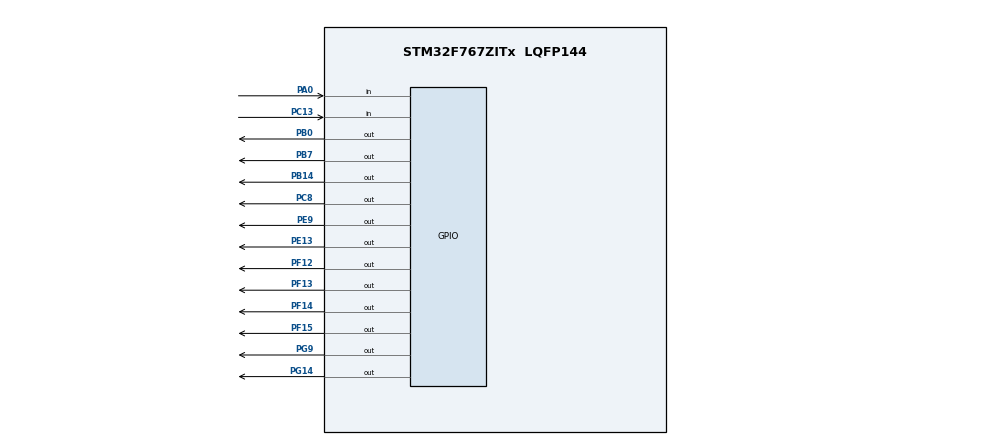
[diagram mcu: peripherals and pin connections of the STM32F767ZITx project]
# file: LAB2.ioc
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Mcu.Family=STM32F7
Mcu.Name=STM32F767ZITx
Mcu.Package=LQFP144
NVIC.PriorityGroup=NVIC_PRIORITYGROUP_4
PA0/WKUP.Signal=GPIO_Input
PB0.Signal=GPIO_Output
PB14.Signal=GPIO_Output
PB7.Signal=GPIO_Output
PC13.Signal=GPIO_Input
PC8.Signal=GPIO_Output
PE13.Signal=GPIO_Output
PE9.Signal=GPIO_Output
PF12.Signal=GPIO_Output
PF13.Signal=GPIO_Output
PF14.Signal=GPIO_Output
PF15.Signal=GPIO_Output
PG14.Signal=GPIO_Output
PG9.Signal=GPIO_Output
ProjectManager.HeapSize=0x200
ProjectManager.StackSize=0x400
ProjectManager.TargetToolchain=STM32CubeIDE
RCC.HSE_VALUE=25000000
RCC.HSI_VALUE=16000000
RCC.LSE_VALUE=32768
RCC.USBFreq_Value=96000000
RCC.VCOOutputFreq_Value=192000000
board=custom

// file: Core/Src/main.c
/* USER CODE BEGIN Header */
/**
 ******************************************************************************
 * @file           : main.c
 * @brief          : Main program body
 ******************************************************************************
 * @attention
 *
 * Copyright (c) 2023 STMicroelectronics.
 * All rights reserved.
 *
 * This software is licensed under terms that can be found in the LICENSE file
 * in the root directory of this software component.
 * If no LICENSE file comes with this software, it is provided AS-IS.
 *
 ******************************************************************************
 */
/* USER CODE END Header */
#include "main.h"

/* USER CODE BEGIN PD */
//void SetLed(int8_t counter){
//	  if(counter == 0)
//		  {
//		  	  HAL_GPIO_WritePin(GPIOF,GPIO_PIN_12,GPIO_PIN_SET);
//		  	  HAL_GPIO_WritePin(GPIOF,GPIO_PIN_13,GPIO_PIN_RESET);
//		  	  HAL_GPIO_WritePin(GPIOE,GPIO_PIN_9,GPIO_PIN_RESET);
//		  	  HAL_GPIO_WritePin(GPIOF,GPIO_PIN_14,GPIO_PIN_RESET);
//		  	  HAL_GPIO_WritePin(GPIOE,GPIO_PIN_13,GPIO_PIN_RESET);
//		  	  HAL_GPIO_WritePin(GPIOF,GPIO_PIN_15,GPIO_PIN_RESET);
//		  	  HAL_GPIO_WritePin(GPIOG,GPIO_PIN_14,GPIO_PIN_RESET);
//		  	  HAL_GPIO_WritePin(GPIOG,GPIO_PIN_9,GPIO_PIN_RESET);
//		  }
//	  if(counter == 1)
//		  {
//		  HAL_GPIO_WritePin(GPIOF,GPIO_PIN_12,GPIO_PIN_RESET);
//		  		  	  HAL_GPIO_WritePin(GPIOF,GPIO_PIN_13,GPIO_PIN_SET);
//		  		  	  HAL_GPIO_WritePin(GPIOE,GPIO_PIN_9,GPIO_PIN_RESET);
//		  		  	  HAL_GPIO_WritePin(GPIOF,GPIO_PIN_14,GPIO_PIN_RESET);
//		  		  	  HAL_GPIO_WritePin(GPIOE,GPIO_PIN_13,GPIO_PIN_RESET);
//		  		  	  HAL_GPIO_WritePin(GPIOF,GPIO_PIN_15,GPIO_PIN_RESET);
//		  		  	  HAL_GPIO_WritePin(GPIOG,GPIO_PIN_14,GPIO_PIN_RESET);
//		  		  	  HAL_GPIO_WritePin(GPIOG,GPIO_PIN_9,GPIO_PIN_RESET);
//		  }
//	  if(counter == 2)
//		  {
//		  HAL_GPIO_WritePin(GPIOF,GPIO_PIN_12,GPIO_PIN_RESET);
//		  		  		  	  HAL_GPIO_WritePin(GPIOF,GPIO_PIN_13,GPIO_PIN_RESET);
//		  		  		  	  HAL_GPIO_WritePin(GPIOE,GPIO_PIN_9,GPIO_PIN_SET);
//		  		  		  	  HAL_GPIO_WritePin(GPIOF,GPIO_PIN_14,GPIO_PIN_RESET);
//		  		  		  	  HAL_GPIO_WritePin(GPIOE,GPIO_PIN_13,GPIO_PIN_RESET);
//		  		  		  	  HAL_GPIO_WritePin(GPIOF,GPIO_PIN_15,GPIO_PIN_RESET);
//		  		  		  	  HAL_GPIO_WritePin(GPIOG,GPIO_PIN_14,GPIO_PIN_RESET);
//		  		  		  	  HAL_GPIO_WritePin(GPIOG,GPIO_PIN_9,GPIO_PIN_RESET);
//		  }
//	  if(counter == 3)
//	  	  {
//		  HAL_GPIO_WritePin(GPIOF,GPIO_PIN_12,GPIO_PIN_RESET); //1
//		 		 HAL_GPIO_WritePin(GPIOF,GPIO_PIN_13,GPIO_PIN_RESET); //2
//		 		 HAL_GPIO_WritePin(GPIOE,GPIO_PIN_9,GPIO_PIN_RESET); //3
//		 		 HAL_GPIO_WritePin(GPIOF,GPIO_PIN_14,GPIO_PIN_SET); //4
//		 		 HAL_GPIO_WritePin(GPIOE,GPIO_PIN_13,GPIO_PIN_RESET); //5
//		 		 HAL_GPIO_WritePin(GPIOF,GPIO_PIN_15,GPIO_PIN_RESET);//6
//		 		 HAL_GPIO_WritePin(GPIOG,GPIO_PIN_14,GPIO_PIN_RESET);//7
//		 		 HAL_GPIO_WritePin(GPIOG,GPIO_PIN_9,GPIO_PIN_RESET); //8
//	  	  }
//	  if(counter == 4)
//	  	  {
//		  HAL_GPIO_WritePin(GPIOF,GPIO_PIN_12,GPIO_PIN_RESET); //1
//		  		 		 HAL_GPIO_WritePin(GPIOF,GPIO_PIN_13,GPIO_PIN_RESET); //2
//		  		 		 HAL_GPIO_WritePin(GPIOE,GPIO_PIN_9,GPIO_PIN_RESET); //3
//		  		 		 HAL_GPIO_WritePin(GPIOF,GPIO_PIN_14,GPIO_PIN_RESET); //4
//		  		 		 HAL_GPIO_WritePin(GPIOE,GPIO_PIN_13,GPIO_PIN_SET); //5
//		  		 		 HAL_GPIO_WritePin(GPIOF,GPIO_PIN_15,GPIO_PIN_RESET);//6
//		  		 		 HAL_GPIO_WritePin(GPIOG,GPIO_PIN_14,GPIO_PIN_RESET);//7
//		  		 		 HAL_GPIO_WritePin(GPIOG,GPIO_PIN_9,GPIO_PIN_RESET); //8
//	  	  }
//	  if(counter == 5)
//	  	  {
//		  HAL_GPIO_WritePin(GPIOF,GPIO_PIN_12,GPIO_PIN_RESET); //1
//		  		  		 		 HAL_GPIO_WritePin(GPIOF,GPIO_PIN_13,GPIO_PIN_RESET); //2
//		  		  		 		 HAL_GPIO_WritePin(GPIOE,GPIO_PIN_9,GPIO_PIN_RESET); //3
//		  		  		 		 HAL_GPIO_WritePin(GPIOF,GPIO_PIN_14,GPIO_PIN_RESET); //4
//		  		  		 		 HAL_GPIO_WritePin(GPIOE,GPIO_PIN_13,GPIO_PIN_RESET); //5
//		  		  		 		 HAL_GPIO_WritePin(GPIOF,GPIO_PIN_15,GPIO_PIN_SET);//6
//		  		  		 		 HAL_GPIO_WritePin(GPIOG,GPIO_PIN_14,GPIO_PIN_RESET);//7
//		  		  		 		 HAL_GPIO_WritePin(GPIOG,GPIO_PIN_9,GPIO_PIN_RESET); //8
//	  	  }
//	  if(counter == 6)
//	  	  {
//		  HAL_GPIO_WritePin(GPIOF,GPIO_PIN_12,GPIO_PIN_RESET); //1
//		  		  		  		 		 HAL_GPIO_WritePin(GPIOF,GPIO_PIN_13,GPIO_PIN_RESET); //2
//		  		  		  		 		 HAL_GPIO_WritePin(GPIOE,GPIO_PIN_9,GPIO_PIN_RESET); //3
//		  		  		  		 		 HAL_GPIO_WritePin(GPIOF,GPIO_PIN_14,GPIO_PIN_RESET); //4
//		  		  		  		 		 HAL_GPIO_WritePin(GPIOE,GPIO_PIN_13,GPIO_PIN_RESET); //5
//		  		  		  		 		 HAL_GPIO_WritePin(GPIOF,GPIO_PIN_15,GPIO_PIN_RESET);//6
//		  		  		  		 		 HAL_GPIO_WritePin(GPIOG,GPIO_PIN_14,GPIO_PIN_SET);//7
//		  		  		  		 		 HAL_GPIO_WritePin(GPIOG,GPIO_PIN_9,GPIO_PIN_RESET); //8
//	  	  }
//	  if(counter == 7)
//	  	  {
//		  HAL_GPIO_WritePin(GPIOF,GPIO_PIN_12,GPIO_PIN_RESET); //1
//		  		  		  		  		 		 HAL_GPIO_WritePin(GPIOF,GPIO_PIN_13,GPIO_PIN_RESET); //2
//		  		  		  		  		 		 HAL_GPIO_WritePin(GPIOE,GPIO_PIN_9,GPIO_PIN_RESET); //3
//		  		  		  		  		 		 HAL_GPIO_WritePin(GPIOF,GPIO_PIN_14,GPIO_PIN_RESET); //4
//		  		  		  		  		 		 HAL_GPIO_WritePin(GPIOE,GPIO_PIN_13,GPIO_PIN_RESET); //5
//		  		  		  		  		 		 HAL_GPIO_WritePin(GPIOF,GPIO_PIN_15,GPIO_PIN_RESET);//6
//		  		  		  		  		 		 HAL_GPIO_WritePin(GPIOG,GPIO_PIN_14,GPIO_PIN_RESET);//7
//		  		  		  		  		 		 HAL_GPIO_WritePin(GPIOG,GPIO_PIN_9,GPIO_PIN_SET); //8
//	  	  }
//}

/* USER CODE END PD */

/* USER CODE BEGIN PV */
uint8_t led0 = 0;
int8_t counter = -1;
uint16_t pins[8] = {
    GPIO_PIN_12,
    GPIO_PIN_13,
    GPIO_PIN_9,
    GPIO_PIN_14,
    GPIO_PIN_13,
    GPIO_PIN_15,
    GPIO_PIN_14,
    GPIO_PIN_9
};
GPIO_TypeDef * GPIOName[8] = {
    GPIOF,
    GPIOF,
    GPIOE,
    GPIOF,
    GPIOE,
    GPIOF,
    GPIOG,
    GPIOG
};

/* USER CODE END PV */

void SystemClock_Config(void);
static void MPU_Initialize(void);
static void MPU_Config(void);
static void MX_GPIO_Init(void);
/* USER CODE BEGIN PFP */
void newSetLed(counter) {
    for (int8_t i = 0; i < 8; i++) {
        HAL_GPIO_WritePin(GPIOName[i], pins[i], GPIO_PIN_RESET);
    }
    HAL_GPIO_WritePin(GPIOName[counter], pins[counter], GPIO_PIN_SET);
}

/* USER CODE END PFP */

int main(void) {

    /* MCU Configuration--------------------------------------------------------*/

    /* Reset of all peripherals, Initializes the Flash interface and the Systick. */
    HAL_Init();

    /* MPU Configuration--------------------------------------------------------*/
    MPU_Config();

    /* Configure the system clock */
    SystemClock_Config();

    /* Initialize all configured peripherals */
    MX_GPIO_Init();

    /* Infinite loop */
    while (1) {

        /* USER CODE BEGIN 3 */
        if (HAL_GPIO_ReadPin(GPIOC, GPIO_PIN_13) == GPIO_PIN_SET) {
            if (counter < 8) {
                counter++;
                HAL_Delay(300);

            }
            if (counter == 8) {
                counter = 0;
            }
            newSetLed(counter);
        }

        if (HAL_GPIO_ReadPin(GPIOA, GPIO_PIN_0) == GPIO_PIN_RESET) {

        	int8_t start = counter;
            for (int8_t check = 0; check < 8; check++) {
                counter--;
                if (counter <= -1) {
                    counter = 7;
                }
                newSetLed(counter);

                HAL_Delay(500);
            }
            if(start == -1){
            	counter = start;
            	for (int8_t i = 0; i < 8; i++) {
            	        HAL_GPIO_WritePin(GPIOName[i], pins[i], GPIO_PIN_RESET);
            	    }
            }
        }

        //	  if(HAL_GPIO_ReadPin(GPIOA,GPIO_PIN_0) == GPIO_PIN_RESET)
        //	        {
        //	            HAL_GPIO_WritePin(GPIOC,GPIO_PIN_8,GPIO_PIN_SET);
        //	            led0 = 0;
        //	            HAL_Delay(1000);
        //	            HAL_GPIO_WritePin(GPIOC,GPIO_PIN_8,GPIO_PIN_RESET);
        //	            led0 = 1;
        //	        }
    }
    /* USER CODE END 3 */
}

void SystemClock_Config(void) {
    RCC_OscInitTypeDef RCC_OscInitStruct = {
        0
    };
    RCC_ClkInitTypeDef RCC_ClkInitStruct = {
        0
    };

    /** Configure the main internal regulator output voltage
     */
    __HAL_RCC_PWR_CLK_ENABLE();
    __HAL_PWR_VOLTAGESCALING_CONFIG(PWR_REGULATOR_VOLTAGE_SCALE3);

    /** Initializes the RCC Oscillators according to the specified parameters
     * in the RCC_OscInitTypeDef structure.
     */
    RCC_OscInitStruct.OscillatorType = RCC_OSCILLATORTYPE_HSI;
    RCC_OscInitStruct.HSIState = RCC_HSI_ON;
    RCC_OscInitStruct.HSICalibrationValue = RCC_HSICALIBRATION_DEFAULT;
    RCC_OscInitStruct.PLL.PLLState = RCC_PLL_NONE;
    if (HAL_RCC_OscConfig( & RCC_OscInitStruct) != HAL_OK) {
        Error_Handler();
    }

    /** Initializes the CPU, AHB and APB buses clocks
     */
    RCC_ClkInitStruct.ClockType = RCC_CLOCKTYPE_HCLK | RCC_CLOCKTYPE_SYSCLK |
        RCC_CLOCKTYPE_PCLK1 | RCC_CLOCKTYPE_PCLK2;
    RCC_ClkInitStruct.SYSCLKSource = RCC_SYSCLKSOURCE_HSI;
    RCC_ClkInitStruct.AHBCLKDivider = RCC_SYSCLK_DIV1;
    RCC_ClkInitStruct.APB1CLKDivider = RCC_HCLK_DIV1;
    RCC_ClkInitStruct.APB2CLKDivider = RCC_HCLK_DIV1;

    if (HAL_RCC_ClockConfig( & RCC_ClkInitStruct, FLASH_LATENCY_0) != HAL_OK) {
        Error_Handler();
    }
}

static void MX_GPIO_Init(void) {
    GPIO_InitTypeDef GPIO_InitStruct = {
        0
    };

    /* GPIO Ports Clock Enable */
    __HAL_RCC_GPIOC_CLK_ENABLE();
    __HAL_RCC_GPIOA_CLK_ENABLE();
    __HAL_RCC_GPIOB_CLK_ENABLE();
    __HAL_RCC_GPIOF_CLK_ENABLE();
    __HAL_RCC_GPIOE_CLK_ENABLE();
    __HAL_RCC_GPIOG_CLK_ENABLE();

    /*Configure GPIO pin Output Level */
    HAL_GPIO_WritePin(GPIOB, GPIO_PIN_0 | GPIO_PIN_14 | GPIO_PIN_7, GPIO_PIN_RESET);

    /*Configure GPIO pin Output Level */
    HAL_GPIO_WritePin(GPIOF, GPIO_PIN_12 | GPIO_PIN_13 | GPIO_PIN_14 | GPIO_PIN_15, GPIO_PIN_RESET);

    /*Configure GPIO pin Output Level */
    HAL_GPIO_WritePin(GPIOE, GPIO_PIN_9 | GPIO_PIN_13, GPIO_PIN_RESET);

    /*Configure GPIO pin Output Level */
    HAL_GPIO_WritePin(GPIOC, GPIO_PIN_8, GPIO_PIN_RESET);

    /*Configure GPIO pin Output Level */
    HAL_GPIO_WritePin(GPIOG, GPIO_PIN_9 | GPIO_PIN_14, GPIO_PIN_RESET);

    /*Configure GPIO pin : PC13 */
    GPIO_InitStruct.Pin = GPIO_PIN_13;
    GPIO_InitStruct.Mode = GPIO_MODE_INPUT;
    GPIO_InitStruct.Pull = GPIO_NOPULL;
    HAL_GPIO_Init(GPIOC, & GPIO_InitStruct);

    /*Configure GPIO pin : PA0 */
    GPIO_InitStruct.Pin = GPIO_PIN_0;
    GPIO_InitStruct.Mode = GPIO_MODE_INPUT;
    GPIO_InitStruct.Pull = GPIO_NOPULL;
    HAL_GPIO_Init(GPIOA, & GPIO_InitStruct);

    /*Configure GPIO pins : PB0 PB14 PB7 */
    GPIO_InitStruct.Pin = GPIO_PIN_0 | GPIO_PIN_14 | GPIO_PIN_7;
    GPIO_InitStruct.Mode = GPIO_MODE_OUTPUT_PP;
    GPIO_InitStruct.Pull = GPIO_NOPULL;
    GPIO_InitStruct.Speed = GPIO_SPEED_FREQ_LOW;
    HAL_GPIO_Init(GPIOB, & GPIO_InitStruct);

    /*Configure GPIO pins : PF12 PF13 PF14 PF15 */
    GPIO_InitStruct.Pin = GPIO_PIN_12 | GPIO_PIN_13 | GPIO_PIN_14 | GPIO_PIN_15;
    GPIO_InitStruct.Mode = GPIO_MODE_OUTPUT_PP;
    GPIO_InitStruct.Pull = GPIO_NOPULL;
    GPIO_InitStruct.Speed = GPIO_SPEED_FREQ_LOW;
    HAL_GPIO_Init(GPIOF, & GPIO_InitStruct);

    /*Configure GPIO pins : PE9 PE13 */
    GPIO_InitStruct.Pin = GPIO_PIN_9 | GPIO_PIN_13;
    GPIO_InitStruct.Mode = GPIO_MODE_OUTPUT_PP;
    GPIO_InitStruct.Pull = GPIO_NOPULL;
    GPIO_InitStruct.Speed = GPIO_SPEED_FREQ_LOW;
    HAL_GPIO_Init(GPIOE, & GPIO_InitStruct);

    /*Configure GPIO pin : PC8 */
    GPIO_InitStruct.Pin = GPIO_PIN_8;
    GPIO_InitStruct.Mode = GPIO_MODE_OUTPUT_PP;
    GPIO_InitStruct.Pull = GPIO_NOPULL;
    GPIO_InitStruct.Speed = GPIO_SPEED_FREQ_LOW;
    HAL_GPIO_Init(GPIOC, & GPIO_InitStruct);

    /*Configure GPIO pins : PG9 PG14 */
    GPIO_InitStruct.Pin = GPIO_PIN_9 | GPIO_PIN_14;
    GPIO_InitStruct.Mode = GPIO_MODE_OUTPUT_PP;
    GPIO_InitStruct.Pull = GPIO_NOPULL;
    GPIO_InitStruct.Speed = GPIO_SPEED_FREQ_LOW;
    HAL_GPIO_Init(GPIOG, & GPIO_InitStruct);

}

/* MPU Configuration */

void MPU_Config(void) {
    MPU_Region_InitTypeDef MPU_InitStruct = {
        0
    };

    /* Disables the MPU */
    HAL_MPU_Disable();

    /** Initializes and configures the Region and the memory to be protected
     */
    MPU_InitStruct.Enable = MPU_REGION_ENABLE;
    MPU_InitStruct.Number = MPU_REGION_NUMBER0;
    MPU_InitStruct.BaseAddress = 0x0;
    MPU_InitStruct.Size = MPU_REGION_SIZE_4GB;
    MPU_InitStruct.SubRegionDisable = 0x87;
    MPU_InitStruct.TypeExtField = MPU_TEX_LEVEL0;
    MPU_InitStruct.AccessPermission = MPU_REGION_NO_ACCESS;
    MPU_InitStruct.DisableExec = MPU_INSTRUCTION_ACCESS_DISABLE;
    MPU_InitStruct.IsShareable = MPU_ACCESS_SHAREABLE;
    MPU_InitStruct.IsCacheable = MPU_ACCESS_NOT_CACHEABLE;
    MPU_InitStruct.IsBufferable = MPU_ACCESS_NOT_BUFFERABLE;

    HAL_MPU_ConfigRegion( & MPU_InitStruct);
    /* Enables the MPU */
    HAL_MPU_Enable(MPU_PRIVILEGED_DEFAULT);

}

void Error_Handler(void) {
    __disable_irq();
    while (1) {}
}
